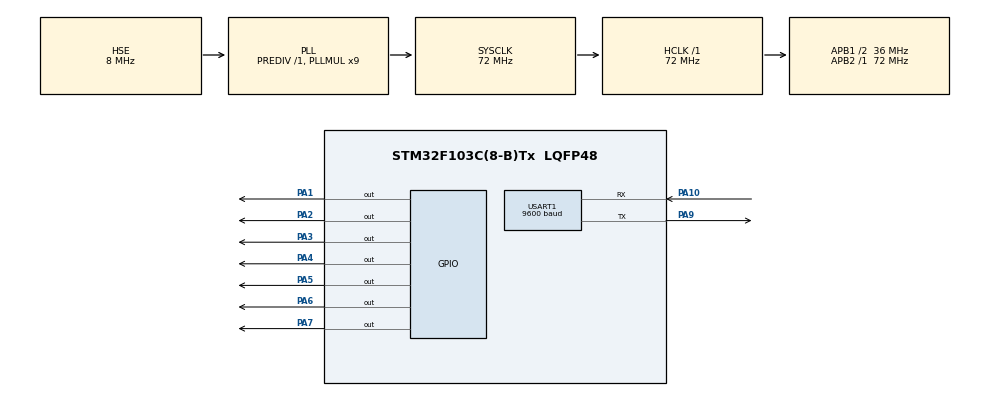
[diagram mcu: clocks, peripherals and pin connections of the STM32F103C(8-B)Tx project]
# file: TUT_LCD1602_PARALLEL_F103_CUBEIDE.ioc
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Mcu.Family=STM32F1
Mcu.Name=STM32F103C(8-B)Tx
Mcu.Package=LQFP48
NVIC.PriorityGroup=NVIC_PRIORITYGROUP_4
PA1.Signal=GPIO_Output
PA10.Mode=Asynchronous
PA10.Signal=USART1_RX
PA13.Mode=Serial_Wire
PA13.Signal=SYS_JTMS-SWDIO
PA14.Mode=Serial_Wire
PA14.Signal=SYS_JTCK-SWCLK
PA2.Signal=GPIO_Output
PA3.Signal=GPIO_Output
PA4.Signal=GPIO_Output
PA5.Signal=GPIO_Output
PA6.Signal=GPIO_Output
PA7.Signal=GPIO_Output
PA9.Mode=Asynchronous
PA9.Signal=USART1_TX
PD0-OSC_IN.Mode=HSE-External-Oscillator
PD0-OSC_IN.Signal=RCC_OSC_IN
PD1-OSC_OUT.Mode=HSE-External-Oscillator
PD1-OSC_OUT.Signal=RCC_OSC_OUT
ProjectManager.HeapSize=0x200
ProjectManager.StackSize=0x400
ProjectManager.TargetToolchain=STM32CubeIDE
RCC.AHBFreq_Value=72000000
RCC.APB1CLKDivider=RCC_HCLK_DIV2
RCC.APB1Freq_Value=36000000
RCC.APB1TimFreq_Value=72000000
RCC.APB2Freq_Value=72000000
RCC.APB2TimFreq_Value=72000000
RCC.HCLKFreq_Value=72000000
RCC.PLLMUL=RCC_PLL_MUL9
RCC.PLLSourceVirtual=RCC_PLLSOURCE_HSE
RCC.SYSCLKFreq_VALUE=72000000
RCC.SYSCLKSource=RCC_SYSCLKSOURCE_PLLCLK
RCC.USBFreq_Value=72000000
TIM1.Period=0xffff-1
TIM1.Prescaler=72-1
USART1.BaudRate=9600
USART1.VirtualMode=VM_ASYNC
VP_TIM1_VS_ClockSourceINT.Mode=Internal
board=custom

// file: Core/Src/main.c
/* USER CODE BEGIN Header */
/**
  ******************************************************************************
  * @file           : main.c
  * @brief          : Main program body
  ******************************************************************************
  * @attention
  *
  * <h2><center>&copy; Copyright (c) 2020 STMicroelectronics.
  * All rights reserved.</center></h2>
  *
  * This software component is licensed by ST under BSD 3-Clause license,
  * the "License"; You may not use this file except in compliance with the
  * License. You may obtain a copy of the License at:
  *                        opensource.org/licenses/BSD-3-Clause
  *
  ******************************************************************************
  */
/* USER CODE END Header */

#include "main.h"

/* USER CODE BEGIN Includes */
#include "LCD1602.h"
#include <stdio.h>
#include <string.h>

/* USER CODE END Includes */

/* USER CODE BEGIN PTD */

uint8_t raw;
uint8_t msg[10];
char msg2[2];
char resp[15];
/* USER CODE END PTD */

TIM_HandleTypeDef htim1;
HAL_StatusTypeDef bool_HAL;
UART_HandleTypeDef huart1;

void SystemClock_Config(void);
static void MX_GPIO_Init(void);
static void MX_TIM1_Init(void);
static void MX_USART1_UART_Init(void);

/* USER CODE BEGIN 0 */

int row=0;
int col=0;

/* USER CODE END 0 */

int main(void)
{

  /* MCU Configuration--------------------------------------------------------*/

  /* Reset of all peripherals, Initializes the Flash interface and the Systick. */
  HAL_Init();

  /* Configure the system clock */
  SystemClock_Config();

  /* Initialize all configured peripherals */
  MX_GPIO_Init();
  MX_TIM1_Init();
  MX_USART1_UART_Init();
  /* USER CODE BEGIN 2 */

  HAL_TIM_Base_Start(&htim1);

  lcd_init ();
  lcd_put_cur(0, 0);
  lcd_send_string("HELLO ");
  lcd_send_string("WORLD ");
  lcd_send_string("FROM");

  lcd_put_cur(1, 0);
  lcd_send_string("CONTROLLERS TECH");
  HAL_Delay(3000);
  lcd_clear();

  /* USER CODE END 2 */

  /* Infinite loop */
  while (1)
  {

    /* USER CODE BEGIN 3 */

	 /* for (int i=0;i<128;i++)
	  {
		  lcd_put_cur(row, col);

		  lcd_send_data(i+48);

		  col++;

		  if (col > 15) {row++; col = 0;}
		  if (row > 1) row=0;

		  HAL_Delay(250);
	  }*/

	 sprintf(msg2, "11");
	 bool_HAL=HAL_UART_Transmit(&huart1, (uint8_t*)msg2, strlen(msg2), 1000);

	 //bool_HAL=HAL_UART_Transmit(&huart1,msg2, 2, 1000);
	 HAL_Delay(100);
	 HAL_UART_Receive(&huart1,msg, 10, 1000);
	 sprintf(resp,msg);
	 lcd_put_cur(0, 0);
	 lcd_send_string(resp);
	 HAL_Delay(300);
	 lcd_clear();
	/* switch(bool_HAL){
	 case HAL_OK:
		 sprintf(msg,"OK");
		 break;
	 case HAL_ERROR:
		 sprintf(msg,"ERROR");
		 break;
	 case HAL_BUSY:
		 sprintf(msg,"BUSY");
		 break;
	 case HAL_TIMEOUT:
		 sprintf(msg,"TIMEOUT");
		 break;
	 default:
		 sprintf(msg,"la cagaste brodi");
		 break;
	 }*/

	  HAL_Delay(100);

	  lcd_put_cur(1, 0);
	  lcd_send_string(msg2);
	 // lcd_put_cur(1, 0);
	 // lcd_send_string(msg);
	  HAL_Delay(1000);
	  lcd_clear();

  }
  /* USER CODE END 3 */
}

void SystemClock_Config(void)
{
  RCC_OscInitTypeDef RCC_OscInitStruct = {0};
  RCC_ClkInitTypeDef RCC_ClkInitStruct = {0};

  /** Initializes the CPU, AHB and APB busses clocks
  */
  RCC_OscInitStruct.OscillatorType = RCC_OSCILLATORTYPE_HSE;
  RCC_OscInitStruct.HSEState = RCC_HSE_ON;
  RCC_OscInitStruct.HSEPredivValue = RCC_HSE_PREDIV_DIV1;
  RCC_OscInitStruct.HSIState = RCC_HSI_ON;
  RCC_OscInitStruct.PLL.PLLState = RCC_PLL_ON;
  RCC_OscInitStruct.PLL.PLLSource = RCC_PLLSOURCE_HSE;
  RCC_OscInitStruct.PLL.PLLMUL = RCC_PLL_MUL9;
  if (HAL_RCC_OscConfig(&RCC_OscInitStruct) != HAL_OK)
  {
    Error_Handler();
  }
  /** Initializes the CPU, AHB and APB busses clocks
  */
  RCC_ClkInitStruct.ClockType = RCC_CLOCKTYPE_HCLK|RCC_CLOCKTYPE_SYSCLK
                              |RCC_CLOCKTYPE_PCLK1|RCC_CLOCKTYPE_PCLK2;
  RCC_ClkInitStruct.SYSCLKSource = RCC_SYSCLKSOURCE_PLLCLK;
  RCC_ClkInitStruct.AHBCLKDivider = RCC_SYSCLK_DIV1;
  RCC_ClkInitStruct.APB1CLKDivider = RCC_HCLK_DIV2;
  RCC_ClkInitStruct.APB2CLKDivider = RCC_HCLK_DIV1;

  if (HAL_RCC_ClockConfig(&RCC_ClkInitStruct, FLASH_LATENCY_2) != HAL_OK)
  {
    Error_Handler();
  }
}

static void MX_TIM1_Init(void)
{

  TIM_ClockConfigTypeDef sClockSourceConfig = {0};
  TIM_MasterConfigTypeDef sMasterConfig = {0};

  htim1.Instance = TIM1;
  htim1.Init.Prescaler = 72-1;
  htim1.Init.CounterMode = TIM_COUNTERMODE_UP;
  htim1.Init.Period = 0xffff-1;
  htim1.Init.ClockDivision = TIM_CLOCKDIVISION_DIV1;
  htim1.Init.RepetitionCounter = 0;
  htim1.Init.AutoReloadPreload = TIM_AUTORELOAD_PRELOAD_DISABLE;
  if (HAL_TIM_Base_Init(&htim1) != HAL_OK)
  {
    Error_Handler();
  }
  sClockSourceConfig.ClockSource = TIM_CLOCKSOURCE_INTERNAL;
  if (HAL_TIM_ConfigClockSource(&htim1, &sClockSourceConfig) != HAL_OK)
  {
    Error_Handler();
  }
  sMasterConfig.MasterOutputTrigger = TIM_TRGO_RESET;
  sMasterConfig.MasterSlaveMode = TIM_MASTERSLAVEMODE_DISABLE;
  if (HAL_TIMEx_MasterConfigSynchronization(&htim1, &sMasterConfig) != HAL_OK)
  {
    Error_Handler();
  }

}

static void MX_USART1_UART_Init(void)
{

  huart1.Instance = USART1;
  huart1.Init.BaudRate = 9600;
  huart1.Init.WordLength = UART_WORDLENGTH_8B;
  huart1.Init.StopBits = UART_STOPBITS_1;
  huart1.Init.Parity = UART_PARITY_NONE;
  huart1.Init.Mode = UART_MODE_TX_RX;
  huart1.Init.HwFlowCtl = UART_HWCONTROL_NONE;
  huart1.Init.OverSampling = UART_OVERSAMPLING_16;
  if (HAL_UART_Init(&huart1) != HAL_OK)
  {
    Error_Handler();
  }

}

static void MX_GPIO_Init(void)
{
  GPIO_InitTypeDef GPIO_InitStruct = {0};

  /* GPIO Ports Clock Enable */
  __HAL_RCC_GPIOD_CLK_ENABLE();
  __HAL_RCC_GPIOA_CLK_ENABLE();

  /*Configure GPIO pin Output Level */
  HAL_GPIO_WritePin(GPIOA, GPIO_PIN_1|GPIO_PIN_2|GPIO_PIN_3|GPIO_PIN_4
                          |GPIO_PIN_5|GPIO_PIN_6|GPIO_PIN_7, GPIO_PIN_RESET);

  /*Configure GPIO pins : PA1 PA2 PA3 PA4
                           PA5 PA6 PA7 */
  GPIO_InitStruct.Pin = GPIO_PIN_1|GPIO_PIN_2|GPIO_PIN_3|GPIO_PIN_4
                          |GPIO_PIN_5|GPIO_PIN_6|GPIO_PIN_7;
  GPIO_InitStruct.Mode = GPIO_MODE_OUTPUT_PP;
  GPIO_InitStruct.Pull = GPIO_NOPULL;
  GPIO_InitStruct.Speed = GPIO_SPEED_FREQ_LOW;
  HAL_GPIO_Init(GPIOA, &GPIO_InitStruct);

}

void Error_Handler(void)
{
}

/************************ (C) COPYRIGHT STMicroelectronics *****END OF FILE****/
